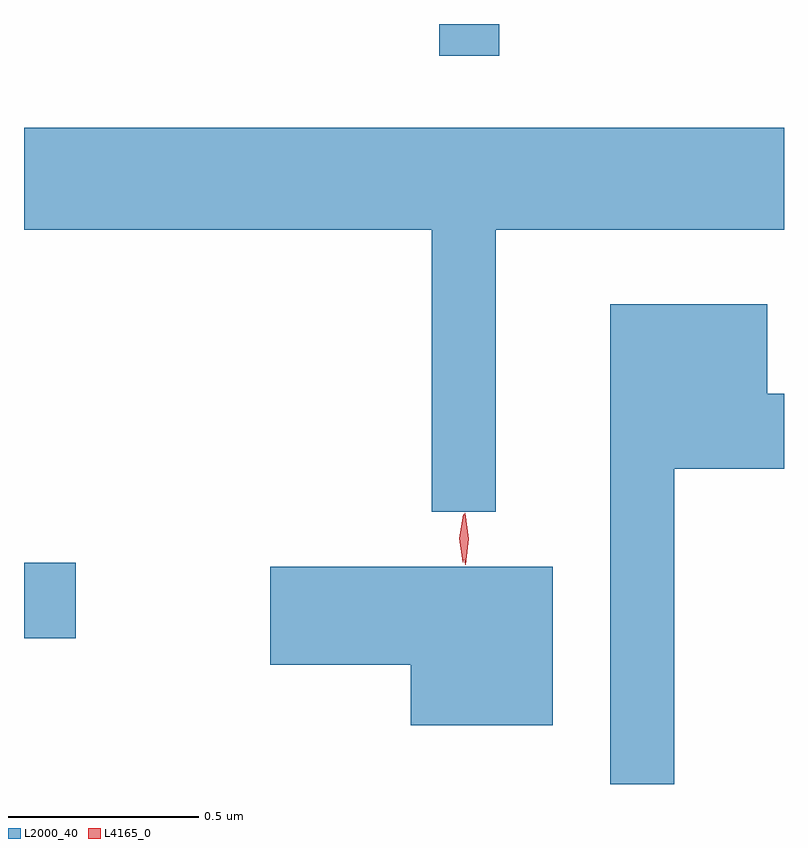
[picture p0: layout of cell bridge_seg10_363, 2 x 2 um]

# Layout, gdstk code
import gdstk
lib = gdstk.Library(unit=1e-6, precision=1e-09)
def R(c, l, rs):  # rectangles x0, y0, x1, y1
    for r in rs: c.add(gdstk.rectangle(r[:2], r[2:], *l))
def P(c, l, *ps):  # polygons
    for p in ps: c.add(gdstk.Polygon(p, *l))
L2000_40 = (2000, 40)
L4165_0 = (4165, 0)

bridge_seg10_363 = lib.new_cell('bridge_seg10_363')
R(bridge_seg10_363, L2000_40, [(1315.768,2157.241,1315.904,2157.439), (1316.861,2158.773,1317.019,2158.857)])
P(bridge_seg10_363, L2000_40, [(1317.009,2158.316),(1317.768,2158.316),(1317.768,2158.584),(1315.768,2158.584),(1315.768,2158.316),(1316.841,2158.316),(1316.841,2157.573),(1317.009,2157.573)],
  [(1317.479,2157.686),(1317.768,2157.686),(1317.768,2157.884),(1317.724,2157.884),(1317.724,2158.119),(1317.311,2158.119),(1317.311,2156.857),(1317.479,2156.857)],
  [(1317.159,2157.429),(1316.416,2157.429),(1316.416,2157.171),(1316.786,2157.171),(1316.786,2157.011),(1317.159,2157.011)])
P(bridge_seg10_363, L4165_0, [(1316.929,2157.434),(1316.929,2157.434),(1316.919,2157.502),(1316.928,2157.57),(1316.928,2157.57),(1316.929,2157.57),(1316.939,2157.502),(1316.93,2157.434)],
  [(1316.923,2157.44),(1316.923,2157.441),(1316.914,2157.504),(1316.924,2157.566),(1316.925,2157.567),(1316.926,2157.566),(1316.934,2157.504),(1316.924,2157.441)])

lib.write_gds('bridge_seg10_363.gds')
